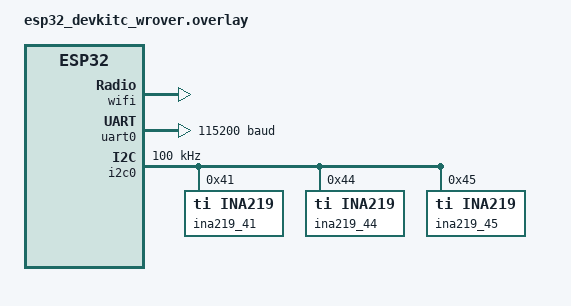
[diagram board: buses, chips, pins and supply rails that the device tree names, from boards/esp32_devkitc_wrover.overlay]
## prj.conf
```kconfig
# Logging
CONFIG_LOG=y
CONFIG_LOG_MODE_IMMEDIATE=y
CONFIG_LOG_BACKEND_SHOW_COLOR=y

# CoreKinect libraries
CONFIG_CK_ESP32_WIFI_LIB=y

# System
CONFIG_NEWLIB_LIBC=y
CONFIG_SNTP=y
CONFIG_POSIX_CLOCK=y
CONFIG_NUM_PREEMPT_PRIORITIES=121
CONFIG_SYSTEM_WORKQUEUE_STACK_SIZE=10000
CONFIG_MAIN_STACK_SIZE=3000
CONFIG_ASSERT=y
CONFIG_POLL=y
CONFIG_GPIO=y
CONFIG_I2C=y
CONFIG_SENSOR=y
CONFIG_PRINTK=y
CONFIG_ENTROPY_GENERATOR=y
CONFIG_BOOT_BANNER=y

# Networking config
CONFIG_NETWORKING=y
CONFIG_NET_CONFIG_SETTINGS=y
CONFIG_NET_CONFIG_AUTO_INIT=n
CONFIG_NET_MGMT=y
CONFIG_NET_MGMT_EVENT=y
CONFIG_NET_MGMT_EVENT_INFO=y
CONFIG_NET_IPV4=y
CONFIG_NET_IPV6=n
CONFIG_NET_DHCPV4=y
CONFIG_NET_UDP=y
CONFIG_NET_TCP=y
CONFIG_DNS_RESOLVER=y
CONFIG_NET_SOCKETS=y
CONFIG_NET_SOCKETS_POSIX_NAMES=y
CONFIG_NET_CONTEXT_SNDTIMEO=y
CONFIG_NET_CONTEXT_RCVTIMEO=y
CONFIG_NET_TCP_MAX_RECV_WINDOW_SIZE=5120
CONFIG_BASE64=y
# CONFIG_NET_CONFIG_MY_IPV4_ADDR="10.4.2.107" # Useful for local development
# CONFIG_NET_CONFIG_MY_IPV4_NETMASK="0.0.0.0"
CONFIG_HTTP_CLIENT=y

# Thread-Aware debugging
CONFIG_THREAD_MONITOR=y
CONFIG_INIT_STACKS=y
CONFIG_DEBUG_THREAD_INFO=y
CONFIG_THREAD_STACK_INFO=y
CONFIG_THREAD_NAME=y

# D isable code optimization so we can debug
CONFIG_DEBUG_OPTIMIZATIONS=y
CONFIG_EXCEPTION_STACK_TRACE=y
CONFIG_DEBUG_INFO=y

# Thread analyzer
# CONFIG_THREAD_ANALYZER=y
# CONFIG_THREAD_ANALYZER_USE_LOG=y
# CONFIG_THREAD_ANALYZER_AUTO=y
# CONFIG_THREAD_ANALYZER_AUTO_INTERVAL=5

# -- system debug options
CONFIG_SYS_HEAP_VALIDATE=y
CONFIG_STACK_SENTINEL=y
CONFIG_STACK_USAGE=y
CONFIG_STACK_CANARIES=y
```

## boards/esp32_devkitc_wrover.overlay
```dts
&wifi {
	status = "okay";
};

&uart0{
	current-speed = <115200>;
};

&i2c0 {
    status = "okay";
    compatible = "espressif,esp32-i2c";
    clock-frequency = <100000>;

    ina219_41: ina219@40 {
        status = "okay";
        compatible = "ti,ina219";
        reg = <0x41>;
        brng = <0>;
        pg = <0>;
        sadc = <0>;
        badc = <0>;
        shunt-milliohm = <100>;
        lsb-microamp = <10>;
    };

    ina219_44: ina219@44 {
        status = "okay";
        compatible = "ti,ina219";
        reg = <0x44>;
        brng = <0>;
        pg = <0>;
        sadc = <0>;
        badc = <0>;
        shunt-milliohm = <100>;
        lsb-microamp = <10>;
    };

    ina219_45: ina219@45 {
        status = "okay";
        compatible = "ti,ina219";
        reg = <0x45>;
        brng = <0>;
        pg = <0>;
        sadc = <0>;
        badc = <0>;
        shunt-milliohm = <100>;
        lsb-microamp = <10>;
    };
};
```

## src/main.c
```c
// Standard includes
#include <stdio.h>

// Zephyr includes
#include <zephyr/device.h>
#include <zephyr/drivers/sensor.h>
#include <zephyr/logging/log.h>
#include <zephyr/net/net_ip.h>
#include <zephyr/net/socket.h>
#include <zephyr/net/sntp.h>
#include <zephyr/net/http/client.h>
#include <zephyr/posix/time.h>

// CoreKinect includes
#include <corekinect/wifi/wifi.h>

LOG_MODULE_REGISTER(app);

// Configuration
#define SSID "ICLE_HERE"
#define PSK  "icle4testing"
#define SERVER_ADDR4 "10.4.2.229"
#define SERVER_PORT 3000
#define SNTP_SERVER "10.4.6.1:123"

// Buffer to store the HTTP response payload
#define MAX_RECV_BUF_LEN 512
static uint8_t recv_buf_ipv4[MAX_RECV_BUF_LEN];

// We use a semaphore to unblock the main thread on a server reponse
static K_SEM_DEFINE(http_req_sem, 0, 1);

int sntp_sync_time(void);
static int connect_socket(sa_family_t family, const char *server, int port, int *sock, struct sockaddr *addr, socklen_t addr_len);
static bool read_and_upload_ina219_data(const struct device *ina, int ina_id, int *sock);

int main(void)
{
    if (!wifi_init())
    {
        LOG_ERR("Could not initialize Wi-Fi interface for %s", CONFIG_BOARD);
        k_fatal_halt(0);
    }

    static struct wifi_connect_req_params conn_params =
    {
        .ssid = SSID,
        .ssid_length = strlen(SSID),
        .psk = PSK,
        .psk_length = strlen(PSK),
    };

    if (!wifi_connect(&conn_params))
    {
        LOG_ERR("Could not connect to Wi-Fi");
        k_fatal_halt(0);
    }

    sntp_sync_time();

    int sock4 = -1;
    struct sockaddr_in addr4;
    if (connect_socket(AF_INET, SERVER_ADDR4, SERVER_PORT, &sock4, (struct sockaddr *)&addr4, sizeof(addr4)) < 0)
    {
        LOG_ERR("Could not connect to HTTP server at %s", SERVER_ADDR4);
        k_fatal_halt(0);
    }

    LOG_INF("Connected to HTTP Server at %s:%d", SERVER_ADDR4, SERVER_PORT);

    const struct device *inas[] =
    {
        DEVICE_DT_GET(DT_NODELABEL(ina219_41)),
        DEVICE_DT_GET(DT_NODELABEL(ina219_44)),
        DEVICE_DT_GET(DT_NODELABEL(ina219_45))
    };

    for (int i = 0; i < sizeof(inas) / sizeof(inas[0]); i++)
    {
        if (!device_is_ready(inas[i]))
        {
            LOG_ERR("Device %s is not ready.\n", inas[i]->name);
            return 0;
        }
    }

    while (true)
    {
        for (int i = 0; i < sizeof(inas) / sizeof(inas[0]); i++)
        {
            read_and_upload_ina219_data(inas[i], i, &sock4);
        }
        k_sleep(K_SECONDS(1));
    }

    return 0;
}

int sntp_sync_time(void)
{
    int rc;
    struct sntp_time now;
    struct timespec tspec;

    rc = sntp_simple(SNTP_SERVER, SYS_FOREVER_MS, &now);
    if (rc == 0)
    {
        tspec.tv_sec = now.seconds;
        tspec.tv_nsec = ((uint64_t)now.fraction * (1000lu * 1000lu * 1000lu)) >> 32;

        clock_settime(CLOCK_REALTIME, &tspec);

        LOG_INF("Acquired time from NTP server: %u", (uint32_t)tspec.tv_sec);
    }
    else
    {
        LOG_ERR("Failed to acquire SNTP, code %d\n", rc);
    }
    return rc;
}

static int connect_socket(sa_family_t family, const char *server, int port,
                          int *sock, struct sockaddr *addr, socklen_t addr_len)
{
    const char *family_str = family == AF_INET ? "IPv4" : "IPv6";
    int ret = 0;

    // Clear the memory for sockaddr structure
    memset(addr, 0, addr_len);

    // Cast addr to the appropriate type and set its fields
    struct sockaddr_in *addr_in = (struct sockaddr_in *)addr;
    addr_in->sin_family = family;
    addr_in->sin_port = htons(port);
    if (inet_pton(family, server, &addr_in->sin_addr) <= 0)
    {
        LOG_ERR("Invalid IPv4 address");
        return -1;
    }
    // Create socket
    *sock = socket(family, SOCK_STREAM, IPPROTO_TCP);
    if (*sock < 0)
    {
        LOG_ERR("Failed to create %s socket (%d)", family_str, -errno);
        return -1;
    }

    // Attempt to connect
    ret = connect(*sock, addr, addr_len);
    if (ret < 0)
    {
        LOG_ERR("Cannot connect to %s server at %s:%d (%d)", family_str, server, port, -errno);
        close(*sock);
        return -1;
    }

    return 0;
}

static void response_cb(struct http_response *rsp, enum http_final_call final_data, void *user_data)
{
    if (final_data == HTTP_DATA_MORE)
    {
        LOG_INF("Partial data received (%zd bytes)", rsp->data_len);
    }
    else if (final_data == HTTP_DATA_FINAL)
    {
        k_sem_give(&http_req_sem); // Release semaphore on final data
    }

    LOG_INF("Response status %s", rsp->http_status);
}

static bool read_and_upload_ina219_data(const struct device *ina, int ina_id, int *sock)
{
    struct sensor_value v_bus, power, current;
    int rc = sensor_sample_fetch(ina);
    if (rc)
    {
        LOG_ERR("Could not fetch sensor data from %s.\n", ina->name);
        return false;
    }

    sensor_channel_get(ina, SENSOR_CHAN_VOLTAGE, &v_bus);
    sensor_channel_get(ina, SENSOR_CHAN_POWER, &power);
    sensor_channel_get(ina, SENSOR_CHAN_CURRENT, &current);

    int v_bus_val1_adjusted = v_bus.val1;
    int v_bus_val2_adjusted = abs(v_bus.val2);
    if (v_bus.val2 < 0 && v_bus.val1 == 0)
    {
        v_bus_val1_adjusted = -v_bus_val1_adjusted; // Adjust the integer part if the whole number is negative and close to zero
    }

    int current_val1_adjusted = current.val1;
    int current_val2_adjusted = abs(current.val2);
    if (current.val2 < 0 && current.val1 == 0)
    {
        current_val1_adjusted = -current_val1_adjusted; // Adjust the integer part if the whole number is negative and close to zero
    }

    struct timespec ts;
    clock_gettime(CLOCK_REALTIME, &ts);
    struct tm *tm_now = gmtime(&ts.tv_sec);

    char time_str[25];
    strftime(time_str, sizeof(time_str), "%Y-%m-%dT%H:%M:%S.000Z", tm_now);

    char payload[256];
    snprintf(payload, sizeof(payload),
             "{\"DeviceId\":\"70B3D584C02002E6\",\"TimeStamp\":\"%s\",\"Voltage\":%d.%06d,\"Current\":%d.%06d,\"Channel\":%d}",
             time_str, v_bus_val1_adjusted, v_bus_val2_adjusted, current_val1_adjusted, current_val2_adjusted, ina_id);

    LOG_INF("%s", payload);

    struct http_request  req =
    {
        .method = HTTP_POST,
        .url = "/icle/PostPower",
        .host = "batcave",
        .port = "3000",
        .protocol = "HTTP/1.1",
        .payload = payload,
        .payload_len = strlen(payload),
        .response = response_cb,
        .recv_buf = recv_buf_ipv4,
        .recv_buf_len = sizeof(recv_buf_ipv4),
        .content_type_value = "application/json"
    };

    // Send HTTP request
    int timeout_ms = 5000;
    rc = http_client_req(*sock, &req, timeout_ms, NULL);
    if (rc < 0)
    {
        LOG_ERR("Failed to send HTTP request: %d", rc);
        return false;
    }

    // Wait for the response callback to release the semaphore
    k_sem_take(&http_req_sem, K_FOREVER);

    return true;
}
```
